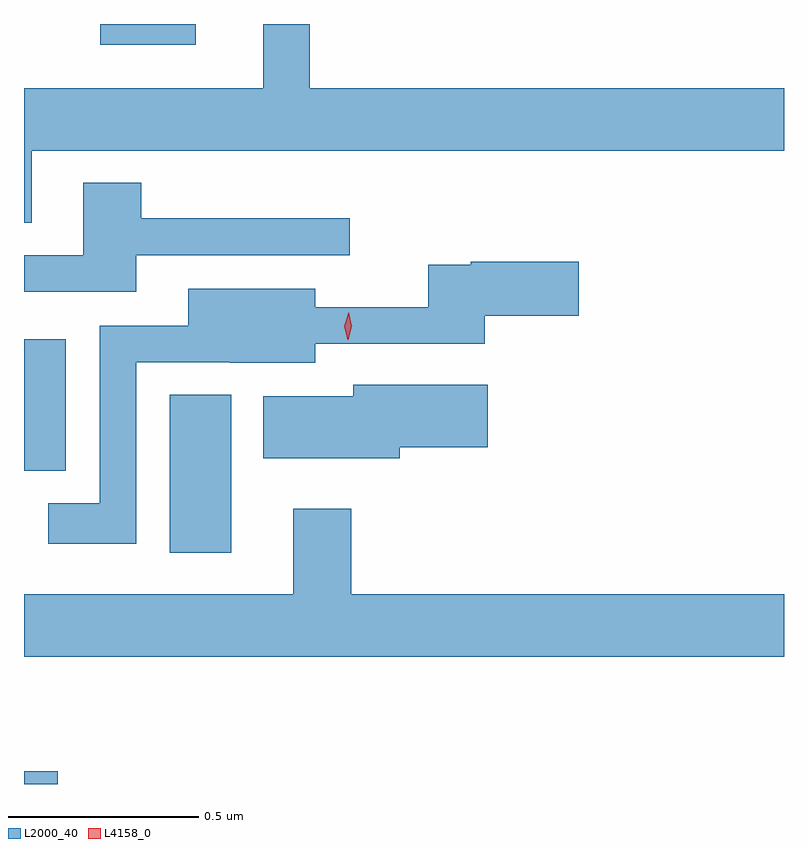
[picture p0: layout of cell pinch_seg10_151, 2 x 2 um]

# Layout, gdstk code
import gdstk
lib = gdstk.Library(unit=1e-6, precision=1e-09)
def R(c, l, rs):  # rectangles x0, y0, x1, y1
    for r in rs: c.add(gdstk.rectangle(r[:2], r[2:], *l))
def P(c, l, *ps):  # polygons
    for p in ps: c.add(gdstk.Polygon(p, *l))
L2000_40 = (2000, 40)
L4158_0 = (4158, 0)

pinch_seg10_151 = lib.new_cell('pinch_seg10_151')
R(pinch_seg10_151, L2000_40, [(677.759,1280.001,677.848,1280.035), (678.143,1280.61,678.304,1281.025), (677.759,1280.825,677.869,1281.172), (677.96,1281.947,678.211,1282.001)])
P(pinch_seg10_151, L2000_40, [(677.779,1281.668),(679.759,1281.668),(679.759,1281.832),(678.511,1281.832),(678.511,1282.001),(678.389,1282.001),(678.389,1281.832),(677.759,1281.832),(677.759,1281.478),(677.779,1281.478)],
  [(678.055,1281.393),(678.616,1281.393),(678.616,1281.49),(678.068,1281.49),(678.068,1281.583),(677.915,1281.583),(677.915,1281.393),(677.759,1281.393),(677.759,1281.297),(678.055,1281.297)],
  [(678.054,1281.111),(678.3,1281.111),(678.3,1281.11),(678.526,1281.11),(678.526,1281.159),(678.971,1281.159),(678.971,1281.233),(679.219,1281.233),(679.219,1281.375),(678.934,1281.375),(678.934,1281.367),(678.823,1281.367),(678.823,1281.256),(678.526,1281.256),(678.526,1281.304),(678.191,1281.304),(678.191,1281.207),(677.958,1281.207),(677.958,1280.74),(677.823,1280.74),(677.823,1280.633),(678.054,1280.633)],
  [(678.748,1280.887),(678.979,1280.887),(678.979,1281.052),(678.626,1281.052),(678.626,1281.022),(678.389,1281.022),(678.389,1280.858),(678.748,1280.858)],
  [(679.759,1280.5),(678.62,1280.5),(678.62,1280.725),(678.467,1280.725),(678.467,1280.5),(677.759,1280.5),(677.759,1280.336),(679.759,1280.336)])
P(pinch_seg10_151, L4158_0, [(678.611,1281.17),(678.611,1281.17),(678.602,1281.206),(678.613,1281.242),(678.613,1281.242),(678.613,1281.242),(678.622,1281.206),(678.612,1281.17)])

lib.write_gds('pinch_seg10_151.gds')
